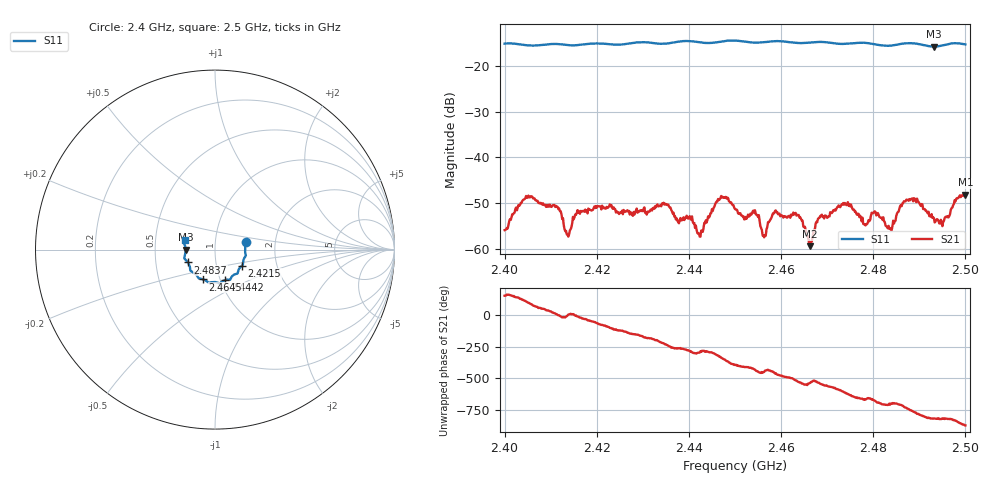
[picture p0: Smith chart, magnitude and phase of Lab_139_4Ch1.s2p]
# Hz S RI R 50
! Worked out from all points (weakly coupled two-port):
!   601 points, 2.4 GHz to 2.5 GHz, reference 50 ohm
!   highest |S21| = -48.21 dB at 2.5 GHz (marker M1); lowest = -59.5 dB at 2.4663 GHz (marker M2)
!   lowest |S11| = -15.7 dB at 2.4932 GHz (marker M3), VSWR 1.39, Z = 35.9 - j0.0601 ohm
!   |S11| at or under -10 dB: start of sweep to end of sweep
!   S12 and S22 are empty: the file has one direction only
!   S11 on the Smith chart (normalised r, x): 2.4 GHz: 1.41, +0.12; 2.4215 GHz: 1.33, -0.25; 2.4442 GHz: 1.05, -0.37; 2.4645 GHz: 0.83, -0.29; 2.4837 GHz: 0.73, -0.11; 2.5 GHz: 0.71, +0.07
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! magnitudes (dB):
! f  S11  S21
! 2.4 GHz  -15.1  -56.0
! 2.4052 GHz  -15.5  -48.4
! 2.4117 GHz  -15.2  -51.3
! 2.4135 GHz  -15.4  -56.9
! 2.4167 GHz  -15.3  -51.8
! 2.4215 GHz  -15.1  -51.1
! 2.4333 GHz  -15.1  -50.7
! 2.4422 GHz  -14.8  -56.7
! 2.4442 GHz  -15.0  -52.9
! 2.4472 GHz  -14.6  -48.8
! 2.45 GHz  -14.4  -51.3
! 2.4563 GHz  -14.8  -57.5
! 2.4587 GHz  -14.5  -51.8
! 2.4645 GHz  -15.0  -53.9
! 2.4663 GHz  -14.8  -59.5
! 2.4667 GHz  -14.8  -58.4
! 2.474 GHz  -15.1  -50.2
! 2.4833 GHz  -15.6  -55.0
! 2.4837 GHz  -15.5  -55.6
! 2.4877 GHz  -15.0  -49.5
! 2.4932 GHz  -15.7  -53.3
! 2.5 GHz  -15.3  -48.2
